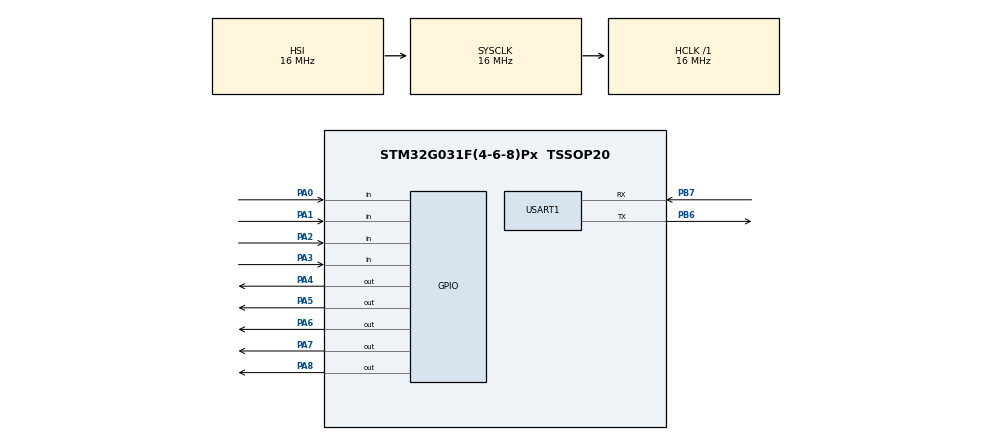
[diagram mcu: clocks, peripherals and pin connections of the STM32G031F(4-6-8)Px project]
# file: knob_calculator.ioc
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Mcu.Family=STM32G0
Mcu.Name=STM32G031F(4-6-8)Px
Mcu.Package=TSSOP20
PA0.GPIO_PuPd=GPIO_PULLUP
PA0.Signal=GPIO_Input
PA1.GPIO_PuPd=GPIO_PULLUP
PA1.Signal=GPIO_Input
PA14-BOOT0__PA15.StandardMode=true
PA2.GPIO_PuPd=GPIO_PULLUP
PA2.Signal=GPIO_Input
PA3.GPIO_PuPd=GPIO_PULLUP
PA3.Signal=GPIO_Input
PA4.Signal=GPIO_Output
PA5.Signal=GPIO_Output
PA6.Signal=GPIO_Output
PA7.Signal=GPIO_Output
PA8.Signal=GPIO_Output
PB0__PB1__PB2__PA8.StandardMode=true
PB3__PB4__PB5__PB6.StandardMode=true
PB6.Mode=Asynchronous
PB6.Signal=USART1_TX
PB7.Mode=Asynchronous
PB7.Signal=USART1_RX
PB7__PB8.StandardMode=true
PC14-OSC32_IN\ (PC14)__PB9.StandardMode=true
ProjectManager.HeapSize=0x200
ProjectManager.StackSize=0x400
ProjectManager.TargetToolchain=CMake
RCC.AHBFreq_Value=16000000
RCC.CortexFreq_Value=16000000
RCC.EXTERNAL_CLOCK_VALUE=12288000
RCC.HCLKFreq_Value=16000000
RCC.HSE_VALUE=8000000
RCC.HSI_VALUE=16000000
RCC.LSE_VALUE=32768
RCC.SYSCLKFreq_VALUE=16000000
RCC.VCOOutputFreq_Value=128000000
USART1.VirtualMode-Asynchronous=VM_ASYNC
board=custom

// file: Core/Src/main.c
/* USER CODE BEGIN Header */
/**
  ******************************************************************************
  * @file           : main.c
  * @brief          : Main program body
  ******************************************************************************
  * @attention
  *
  * Copyright (c) 2026 STMicroelectronics.
  * All rights reserved.
  *
  * This software is licensed under terms that can be found in the LICENSE file
  * in the root directory of this software component.
  * If no LICENSE file comes with this software, it is provided AS-IS.
  *
  ******************************************************************************
  */
/* USER CODE END Header */
#include "main.h"
#include "stm32g031xx.h"
#include "stm32g0xx_hal_gpio.h"

UART_HandleTypeDef huart1;

void SystemClock_Config(void);
static void MX_GPIO_Init(void);
static void MX_USART1_UART_Init(void);

int main(void)
{

  /* MCU Configuration--------------------------------------------------------*/

  /* Reset of all peripherals, Initializes the Flash interface and the Systick. */
  HAL_Init();

  /* Configure the system clock */
  SystemClock_Config();

  /* Initialize all configured peripherals */
  MX_GPIO_Init();
  MX_USART1_UART_Init();
  /* USER CODE BEGIN 2 */

  int led[] = {GPIO_PIN_4, GPIO_PIN_5, GPIO_PIN_6, GPIO_PIN_7};
  int i = 0;
  //char msg = 'w';
  int prev_clk = 1;
  int clk = 1;
  int dt = 1;

  /* USER CODE END 2 */

  /* Infinite loop */
  while (1)
  {

    /* USER CODE BEGIN 3 */

    clk = HAL_GPIO_ReadPin(GPIOA, GPIO_PIN_1);
    dt  = HAL_GPIO_ReadPin(GPIOA, GPIO_PIN_2);

    if (prev_clk == 0 && clk == 1)
    {
        if (dt == 0)
        {
            i--;
        }
        else
        {
            i++;
        }

        if(i >= 4)
          i = 0;
        if(i < 0)
          i = 3;

        //HAL_GPIO_TogglePin(GPIOA, led[i]);
        HAL_GPIO_WritePin(GPIOA, GPIO_PIN_4, 0);
        HAL_GPIO_WritePin(GPIOA, GPIO_PIN_5, 0);
        HAL_GPIO_WritePin(GPIOA, GPIO_PIN_6, 0);
        HAL_GPIO_WritePin(GPIOA, GPIO_PIN_7, 0);
        HAL_GPIO_WritePin(GPIOA, led[i], 1);
    }

    prev_clk = clk;

    //msg = '0' + i;
    //HAL_GPIO_WritePin(GPIOA, led[i], 0);
    //HAL_GPIO_WritePin(GPIOA, led[(i + 1) % 3], 1);

    //if(i < 2)
    //    i++;
    //else
    //    i = 0;

    //char clk = '0' + HAL_GPIO_ReadPin(GPIOA, GPIO_PIN_1);
    //char dt  = '0' + HAL_GPIO_ReadPin(GPIOA, GPIO_PIN_2);

    //HAL_UART_Transmit(&huart1, (uint8_t*)&msg, 1, 1000);
    HAL_Delay(10);
  }
  /* USER CODE END 3 */
}

void SystemClock_Config(void)
{
  RCC_OscInitTypeDef RCC_OscInitStruct = {0};
  RCC_ClkInitTypeDef RCC_ClkInitStruct = {0};

  /** Configure the main internal regulator output voltage
  */
  HAL_PWREx_ControlVoltageScaling(PWR_REGULATOR_VOLTAGE_SCALE1);

  /** Initializes the RCC Oscillators according to the specified parameters
  * in the RCC_OscInitTypeDef structure.
  */
  RCC_OscInitStruct.OscillatorType = RCC_OSCILLATORTYPE_HSI;
  RCC_OscInitStruct.HSIState = RCC_HSI_ON;
  RCC_OscInitStruct.HSIDiv = RCC_HSI_DIV1;
  RCC_OscInitStruct.HSICalibrationValue = RCC_HSICALIBRATION_DEFAULT;
  RCC_OscInitStruct.PLL.PLLState = RCC_PLL_NONE;
  if (HAL_RCC_OscConfig(&RCC_OscInitStruct) != HAL_OK)
  {
    Error_Handler();
  }

  /** Initializes the CPU, AHB and APB buses clocks
  */
  RCC_ClkInitStruct.ClockType = RCC_CLOCKTYPE_HCLK|RCC_CLOCKTYPE_SYSCLK
                              |RCC_CLOCKTYPE_PCLK1;
  RCC_ClkInitStruct.SYSCLKSource = RCC_SYSCLKSOURCE_HSI;
  RCC_ClkInitStruct.AHBCLKDivider = RCC_SYSCLK_DIV1;
  RCC_ClkInitStruct.APB1CLKDivider = RCC_HCLK_DIV1;

  if (HAL_RCC_ClockConfig(&RCC_ClkInitStruct, FLASH_LATENCY_0) != HAL_OK)
  {
    Error_Handler();
  }
}

static void MX_USART1_UART_Init(void)
{

  huart1.Instance = USART1;
  huart1.Init.BaudRate = 115200;
  huart1.Init.WordLength = UART_WORDLENGTH_8B;
  huart1.Init.StopBits = UART_STOPBITS_1;
  huart1.Init.Parity = UART_PARITY_NONE;
  huart1.Init.Mode = UART_MODE_TX_RX;
  huart1.Init.HwFlowCtl = UART_HWCONTROL_NONE;
  huart1.Init.OverSampling = UART_OVERSAMPLING_16;
  huart1.Init.OneBitSampling = UART_ONE_BIT_SAMPLE_DISABLE;
  huart1.Init.ClockPrescaler = UART_PRESCALER_DIV1;
  huart1.AdvancedInit.AdvFeatureInit = UART_ADVFEATURE_NO_INIT;
  if (HAL_UART_Init(&huart1) != HAL_OK)
  {
    Error_Handler();
  }
  if (HAL_UARTEx_SetTxFifoThreshold(&huart1, UART_TXFIFO_THRESHOLD_1_8) != HAL_OK)
  {
    Error_Handler();
  }
  if (HAL_UARTEx_SetRxFifoThreshold(&huart1, UART_RXFIFO_THRESHOLD_1_8) != HAL_OK)
  {
    Error_Handler();
  }
  if (HAL_UARTEx_DisableFifoMode(&huart1) != HAL_OK)
  {
    Error_Handler();
  }

}

static void MX_GPIO_Init(void)
{
  GPIO_InitTypeDef GPIO_InitStruct = {0};

  /* GPIO Ports Clock Enable */
  __HAL_RCC_GPIOB_CLK_ENABLE();
  __HAL_RCC_GPIOA_CLK_ENABLE();

  /*Configure GPIO pin Output Level */
  HAL_GPIO_WritePin(GPIOA, GPIO_PIN_4|GPIO_PIN_5|GPIO_PIN_6|GPIO_PIN_7
                          |GPIO_PIN_8, GPIO_PIN_RESET);

  /*Configure GPIO pins : PA0 PA1 PA2 PA3 */
  GPIO_InitStruct.Pin = GPIO_PIN_0|GPIO_PIN_1|GPIO_PIN_2|GPIO_PIN_3;
  GPIO_InitStruct.Mode = GPIO_MODE_INPUT;
  GPIO_InitStruct.Pull = GPIO_PULLUP;
  HAL_GPIO_Init(GPIOA, &GPIO_InitStruct);

  /*Configure GPIO pins : PA4 PA5 PA6 PA7
                           PA8 */
  GPIO_InitStruct.Pin = GPIO_PIN_4|GPIO_PIN_5|GPIO_PIN_6|GPIO_PIN_7
                          |GPIO_PIN_8;
  GPIO_InitStruct.Mode = GPIO_MODE_OUTPUT_PP;
  GPIO_InitStruct.Pull = GPIO_NOPULL;
  GPIO_InitStruct.Speed = GPIO_SPEED_FREQ_LOW;
  HAL_GPIO_Init(GPIOA, &GPIO_InitStruct);

}

void Error_Handler(void)
{
  __disable_irq();
  while (1)
  {
  }
}
